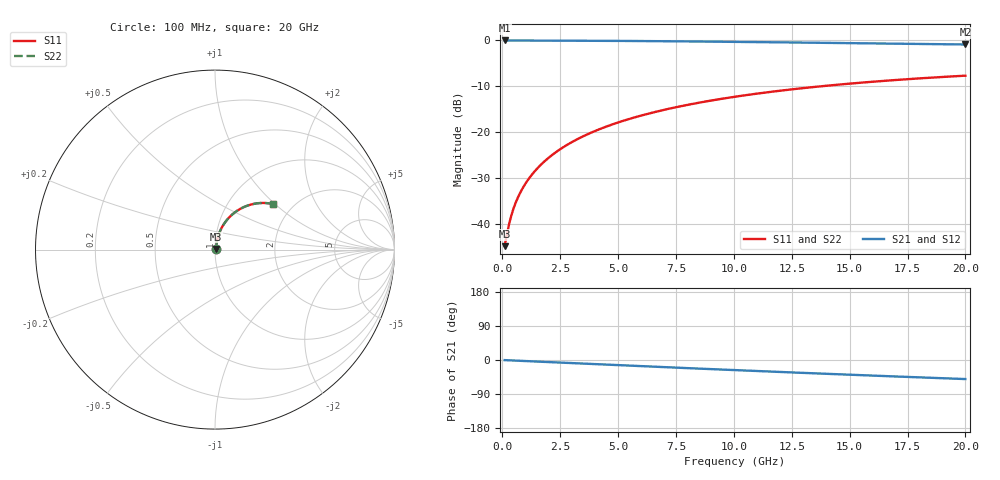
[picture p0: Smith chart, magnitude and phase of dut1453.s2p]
! Touchstone file exported from HFSS 2026.1.0
!  File:  C:/ffzhzh/LocalFiles/Ansys_Project_Files/temp_train_BSMRDL_1453_1783180771_22436.aedt
!  Generated:  12:00:54 AM Jul  5, 2026
!  Design:  BSMRDL
!  Project:  temp_train_BSMRDL_1453_1783180771_22436
! Variables:
!  h_bsmrdl = 2.29um
!  h_ox = 20um
!  h_rdl = 5um
!  h_sub = 80um
!  h_tmrdl = 5um
!  h_tsv = 80um
!  h_via = 3um
!  l_bsmrdl = 766.87um
!  l_sub = 1166.87um
!  l_tmrdl = 200um
!  m_sub = 200um
!  pitch = 49.26um
!  r_tsv = 6um
!  s_tmrdl = 10um
!  w_bsmrdl = 25.75um
!  w_sub = 500um
!  w_tmrdl = 12um
!  x_tsv_center1 = 206um
!  x_tsv_center2 = 998.62um
!  x_tsv_center3 = 1210.62um
!  x_tsv_center4 = 2003.24um
!  x_tsv_center5 = 2215.24um
!  x_tsv_center6 = 3007.86um
# GHz S MA R 50.000000
! Terminal data exported
! Port[1] = BSM_RDL1_1_T1
! Port[2] = BSM_RDL1_1_T2
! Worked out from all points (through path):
!   200 points, 100 MHz to 20 GHz, reference 50 ohm
!   highest |S21| = -0.04 dB at 100 MHz (marker M1); lowest = -0.9 dB at 20 GHz (marker M2)
!   group delay of S21, straight-line fit = 7 ps
!   lowest |S11| = -44.9 dB at 100 MHz (marker M3), VSWR 1.01, Z = 50.5 + j0.294 ohm
!   |S11| at or under -10 dB: start of sweep to 13.82 GHz
!   |S22| runs from -44.9 to -7.7 dB; largest |S21 - S12| = 3.1e-15
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0.1  0.00571 30.7  0.9951 -0.3  0.9951 -0.3  0.00571 30.7
! Gamma 0 0 0 0
! Port Impedance 50 0 50 0
0.2  0.007712 48.4  0.9949 -0.6  0.9949 -0.6  0.007712 48.4
0.3  0.0101 57.5  0.9947 -0.9  0.9947 -0.9  0.0101 57.5
0.4  0.01257 62.8  0.9944 -1.1  0.9944 -1.1  0.01257 62.8
0.5  0.01506 66.2  0.9942 -1.4  0.9942 -1.4  0.01506 66.2
0.6  0.01754 68.5  0.9939 -1.7  0.9939 -1.7  0.01754 68.5
0.8  0.02247 71.7  0.9936 -2.2  0.9936 -2.2  0.02247 71.7
1.1  0.02989 74.4  0.9931 -3.0  0.9931 -3.0  0.02989 74.4
1.3  0.03487 75.5  0.9928 -3.6  0.9928 -3.6  0.03487 75.5
1.6  0.04237 76.5  0.9924 -4.4  0.9924 -4.4  0.04237 76.5
2.1  0.05493 77.1  0.9917 -5.7  0.9917 -5.7  0.05493 77.1
2.7  0.07003 76.9  0.9906 -7.4  0.9906 -7.4  0.07003 76.9
3.5  0.09008 75.9  0.9887 -9.5  0.9887 -9.5  0.09009 75.9
4.2  0.1075 74.6  0.9868 -11.4  0.9868 -11.4  0.1075 74.6
5  0.1271 73.0  0.9843 -13.6  0.9843 -13.6  0.1271 73.0
5.9  0.1489 71.0  0.9809 -15.9  0.9809 -15.9  0.1489 71.0
6.8  0.1702 68.9  0.9772 -18.3  0.9772 -18.3  0.1702 68.9
8.3  0.2045 65.3  0.9701 -22.2  0.9701 -22.2  0.2045 65.3
10.1  0.2436 61.0  0.9604 -26.8  0.9604 -26.8  0.2436 60.9
13.4  0.3086 53.1  0.9406 -35.0  0.9406 -35.0  0.3086 53.0
16.7  0.3646 45.4  0.9197 -42.8  0.9197 -42.8  0.3646 45.4
20  0.4113 38.1  0.8994 -50.3  0.8994 -50.3  0.4113 38.1
